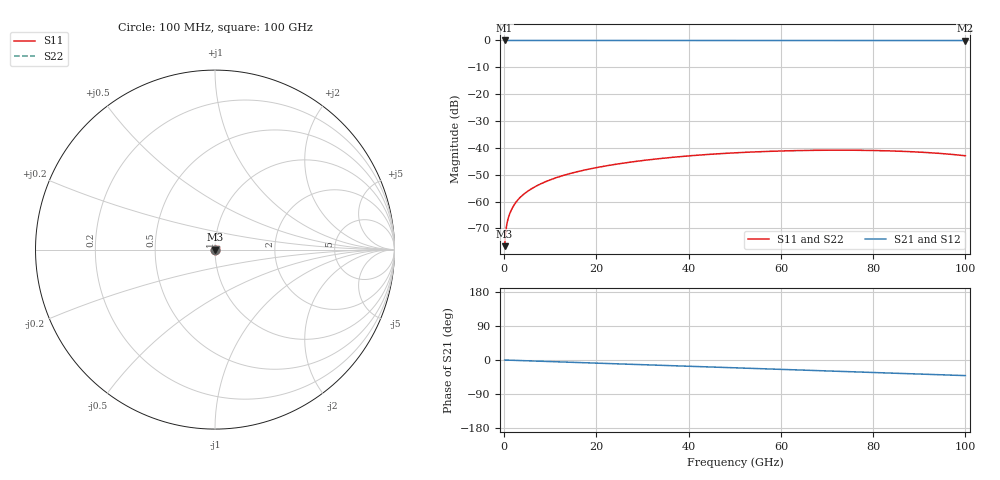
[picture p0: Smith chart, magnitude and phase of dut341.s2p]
! Touchstone file exported from HFSS 2026.1.0
!  File:  C:/ffzhzh/LocalFiles/Ansys_Project_Files/temp_train_TSV_341_1783509849_41296.aedt
!  Generated:  07:25:22 PM Jul  8, 2026
!  Design:  TSV
!  Project:  temp_train_TSV_341_1783509849_41296
! Variables:
!  h_bsmrdl = 2um
!  h_ox = 20um
!  h_rdl = 5um
!  h_sub = 83.53um
!  h_tmrdl = 5um
!  h_tsv = 83.53um
!  h_via = 3um
!  l_bsmrdl = 300um
!  l_sub = 419.96um
!  l_tmrdl = 200um
!  m_sub = 200um
!  pitch = 41.74um
!  r_tsv = 9.98um
!  s_tmrdl = 10um
!  w_bsmrdl = 18um
!  w_sub = 500um
!  w_tmrdl = 12um
!  x_tsv_center1 = 206um
!  x_tsv_center2 = 524um
!  x_tsv_center3 = 736um
!  x_tsv_center4 = 1054um
!  x_tsv_center5 = 1266um
!  x_tsv_center6 = 1584um
# GHz S MA R 50.000000
! Terminal data exported
! Port[1] = TSV1_1_T1
! Port[2] = TSV1_1_T2
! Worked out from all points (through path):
!   1000 points, 100 MHz to 100 GHz, reference 50 ohm
!   highest |S21| = 0.00 dB at 100 MHz (marker M1); lowest = 0.0 dB at 100 GHz (marker M2)
!   group delay of S21, straight-line fit = 1.14 ps
!   lowest |S11| = -76.6 dB at 100 MHz (marker M3), VSWR 1.00, Z = 50 + j0.00652 ohm
!   |S11| at or under -10 dB: start of sweep to end of sweep
!   |S22| runs from -76.6 to -40.8 dB; largest |S21 - S12| = 5e-15
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0.1  0.0001478 26.2  0.9999 -0.0  0.9999 -0.0  0.0001478 26.2
! Gamma 0 0 0 0
! Port Impedance 50 0 50 0
0.4  0.0002962 50.4  0.9998 -0.2  0.9998 -0.2  0.0002962 50.4
0.8  0.0004603 54.0  0.9997 -0.3  0.9997 -0.3  0.0004603 54.0
1.1  0.0005597 55.5  0.9997 -0.5  0.9997 -0.5  0.0005597 55.5
1.4  0.0006514 56.8  0.9996 -0.6  0.9996 -0.6  0.0006514 56.8
1.9  0.0007954 58.3  0.9996 -0.8  0.9996 -0.8  0.0007955 58.3
2.5  0.0009565 59.5  0.9995 -1.0  0.9995 -1.0  0.0009566 59.5
3.1  0.001107 60.3  0.9995 -1.3  0.9995 -1.3  0.001107 60.3
3.9  0.001294 61.1  0.9994 -1.6  0.9994 -1.6  0.001294 61.1
6.1  0.001767 62.8  0.9993 -2.5  0.9993 -2.5  0.001768 62.8
8.9  0.002329 63.7  0.9991 -3.7  0.9991 -3.7  0.00233 63.7
12.5  0.003008 63.8  0.9989 -5.2  0.9989 -5.2  0.00301 63.8
16.8  0.003759 63.6  0.9987 -6.9  0.9987 -6.9  0.003761 63.5
24.3  0.004966 62.6  0.9985 -10.0  0.9985 -10.0  0.004969 62.4
33.4  0.006272 60.3  0.9982 -13.7  0.9982 -13.7  0.006278 60.1
41.4  0.007248 57.7  0.998 -17.0  0.998 -17.0  0.007257 57.5
50.1  0.008093 54.5  0.9978 -20.6  0.9978 -20.6  0.008105 54.2
66.7  0.008991 47.7  0.9974 -27.4  0.9974 -27.4  0.009013 47.1
75.3  0.009044 43.6  0.9972 -31.0  0.9972 -31.0  0.009073 42.9
83.4  0.008794 39.4  0.9971 -34.3  0.9971 -34.3  0.008831 38.5
92.2  0.008132 34.1  0.9969 -37.9  0.9969 -37.9  0.008182 33.0
100  0.007125 28.5  0.9967 -41.2  0.9967 -41.2  0.007191 27.1
